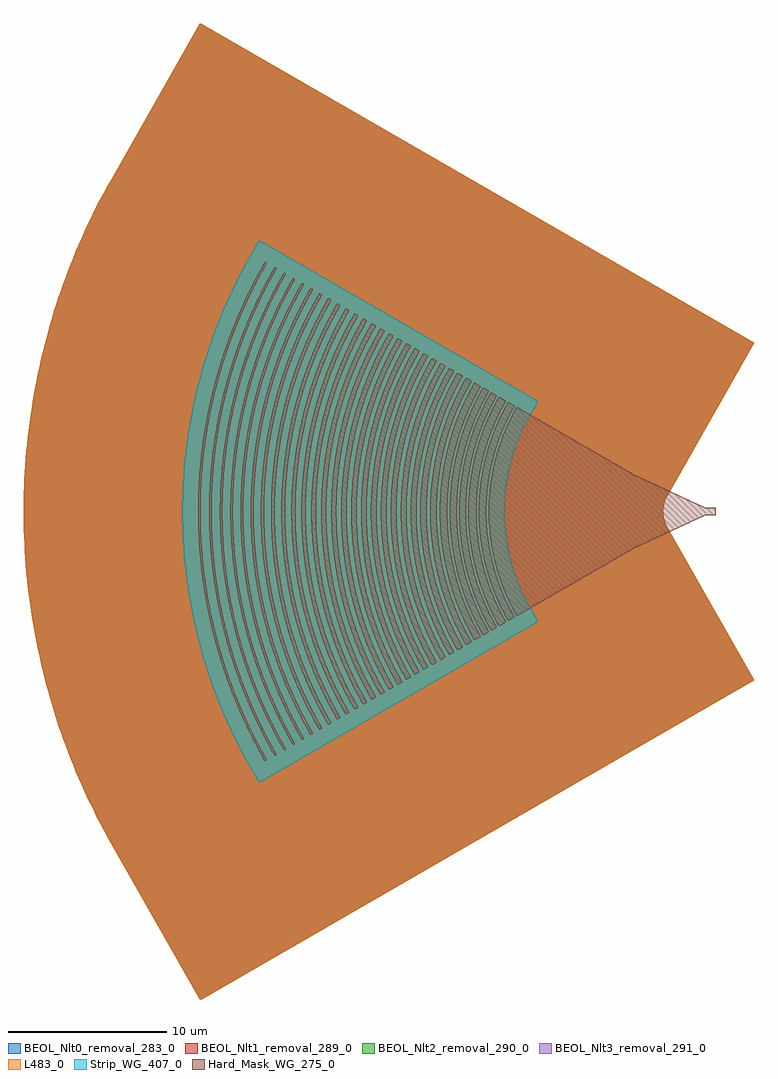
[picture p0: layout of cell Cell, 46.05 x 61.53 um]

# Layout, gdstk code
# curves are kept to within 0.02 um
import gdstk
lib = gdstk.Library(unit=1e-6, precision=1e-09)
def P(c, l, *ps):  # polygons
    for p in ps: c.add(gdstk.Polygon(p, *l))
Hard_Mask_WG_275_0 = (275, 0)
BEOL_Nlt0_removal_283_0 = (283, 0)
BEOL_Nlt1_removal_289_0 = (289, 0)
BEOL_Nlt2_removal_290_0 = (290, 0)
BEOL_Nlt3_removal_291_0 = (291, 0)
Strip_WG_407_0 = (407, 0)
L483_0 = (483, 0)

cell = lib.new_cell('Cell')
P(cell, Hard_Mask_WG_275_0, [(25.743,21.104),(25.692,21.15),(25.253,21.96),(24.678,23.19),(24.204,24.42),(23.806,25.71),(23.54,26.82),(23.325,28.05),(23.182,29.4),(23.136,30.6),(23.172,31.98),(23.267,33.03),(23.48,34.41),(23.75,35.61),(24.173,37.02),(24.615,38.19),(25.253,39.57),(25.692,40.38),(25.743,40.426),(25.995,40.29),(26.026,40.23),(25.377,39),(24.838,37.77),(24.417,36.6),(24.028,35.22),(23.795,34.11),(23.644,33.12),(23.551,32.19),(23.499,30.87),(23.522,29.79),(23.613,28.677),(23.763,27.605),(23.972,26.55),(24.332,25.2),(24.779,23.91),(25.377,22.53),(26.026,21.3),(25.995,21.24)],
  [(15.843,15.38),(15.802,15.391),(15.693,15.575),(15.019,16.831),(14.511,17.881),(14.114,18.781),(13.727,19.741),(13.336,20.82),(12.766,22.68),(12.529,23.61),(12.291,24.69),(12.109,25.68),(11.964,26.64),(11.84,27.69),(11.753,28.74),(11.686,30.63),(11.695,31.5),(11.745,32.67),(11.928,34.62),(12.079,35.67),(12.285,36.81),(12.529,37.92),(12.766,38.85),(13.336,40.71),(13.727,41.789),(14.114,42.749),(14.511,43.649),(15.019,44.699),(15.693,45.955),(15.802,46.139),(15.843,46.15),(15.913,46.109),(15.925,46.049),(15.379,45.059),(14.883,44.076),(14.433,43.1),(13.983,42.021),(13.378,40.35),(12.838,38.52),(12.603,37.56),(12.389,36.54),(12.091,34.68),(11.913,32.881),(11.853,31.688),(11.842,30.9),(11.883,29.13),(11.942,28.26),(12.061,27.09),(12.211,26.01),(12.389,24.99),(12.807,23.13),(13.079,22.14),(13.378,21.18),(13.983,19.509),(14.433,18.43),(14.883,17.454),(15.379,16.471),(15.925,15.481),(15.913,15.421)],
  [(30.543,23.879),(30.172,24.54),(29.744,25.47),(29.447,26.25),(29.178,27.12),(28.97,27.99),(28.82,28.86),(28.726,29.73),(28.689,30.6),(28.699,31.35),(28.788,32.43),(28.934,33.36),(29.122,34.2),(29.447,35.28),(29.744,36.06),(30.172,36.99),(30.543,37.651),(30.903,37.456),(30.935,37.41),(30.498,36.57),(30.175,35.85),(29.881,35.07),(29.641,34.29),(29.433,33.42),(29.311,32.73),(29.195,31.65),(29.166,30.87),(29.191,29.94),(29.252,29.25),(29.37,28.44),(29.585,27.45),(29.821,26.64),(30.114,25.83),(30.469,25.02),(30.935,24.12),(30.903,24.074)],
  [(15.213,15.029),(14.877,15.601),(14.281,16.741),(13.783,17.791),(13.393,18.691),(12.979,19.741),(12.648,20.671),(12.082,22.53),(11.838,23.49),(11.626,24.45),(11.45,25.38),(11.274,26.52),(11.152,27.54),(11.064,28.56),(11.003,29.73),(10.988,30.54),(10.995,31.53),(11.032,32.46),(11.114,33.6),(11.238,34.74),(11.385,35.76),(11.566,36.78),(11.775,37.77),(12.018,38.76),(12.286,39.72),(12.618,40.77),(12.979,41.789),(13.368,42.779),(13.783,43.739),(14.281,44.789),(14.877,45.929),(15.213,46.501),(15.303,46.462),(15.324,46.409),(14.762,45.389),(14.223,44.318),(13.739,43.259),(13.317,42.239),(12.691,40.5),(12.154,38.67),(11.729,36.81),(11.551,35.82),(11.401,34.8),(11.224,33.06),(11.163,31.98),(11.143,30.99),(11.154,29.88),(11.191,28.98),(11.253,28.11),(11.371,26.97),(11.522,25.89),(11.7,24.87),(12.123,22.98),(12.633,21.21),(13.233,19.507),(13.683,18.401),(14.19,17.281),(14.699,16.261),(15.324,15.121),(15.303,15.068)],
  [(26.283,21.422),(25.801,22.29),(25.244,23.49),(24.827,24.57),(24.434,25.83),(24.167,26.94),(23.961,28.11),(23.833,29.25),(23.772,30.63),(23.807,31.92),(23.928,33.18),(24.136,34.44),(24.378,35.49),(24.765,36.78),(25.194,37.92),(25.696,39.03),(26.283,40.108),(26.58,39.93),(25.925,38.67),(25.38,37.41),(24.961,36.21),(24.603,34.883),(24.42,33.99),(24.273,33.017),(24.183,32.103),(24.137,30.93),(24.152,29.94),(24.243,28.77),(24.364,27.87),(24.57,26.79),(24.897,25.53),(25.38,24.12),(25.925,22.86),(26.58,21.6)],
  [(19.773,17.657),(19.554,18.001),(19.023,19.006),(18.285,20.611),(17.688,22.17),(17.176,23.82),(16.762,25.56),(16.491,27.15),(16.312,28.83),(16.241,30.63),(16.279,32.19),(16.451,34.08),(16.726,35.79),(17.176,37.71),(17.688,39.36),(18.285,40.919),(19.023,42.524),(19.554,43.529),(19.773,43.873),(19.923,43.795),(19.952,43.739),(19.138,42.209),(18.387,40.53),(17.763,38.82),(17.285,37.17),(16.953,35.682),(16.711,34.2),(16.533,32.374),(16.486,30.96),(16.531,29.19),(16.653,27.801),(16.889,26.19),(17.255,24.48),(17.763,22.71),(18.387,21),(19.138,19.321),(19.952,17.791),(19.923,17.735)],
  [(21.423,18.605),(21.355,18.661),(20.787,19.711),(20.061,21.27),(19.494,22.74),(19.007,24.3),(18.651,25.77),(18.381,27.3),(18.201,28.95),(18.134,30.54),(18.168,32.07),(18.317,33.75),(18.561,35.31),(18.919,36.9),(19.432,38.61),(19.973,40.05),(20.787,41.819),(21.355,42.869),(21.423,42.925),(21.635,42.779),(20.875,41.339),(20.155,39.72),(19.62,38.25),(19.175,36.72),(18.842,35.22),(18.631,33.9),(18.483,32.43),(18.427,30.96),(18.453,29.61),(18.573,28.109),(18.782,26.64),(19.115,25.05),(19.562,23.46),(20.155,21.81),(20.875,20.191),(21.635,18.751)],
  [(21.963,18.914),(21.903,18.954),(21.363,19.949),(20.659,21.45),(20.057,23.01),(19.577,24.57),(19.217,26.1),(18.983,27.48),(18.826,28.92),(18.756,30.63),(18.797,32.19),(18.943,33.75),(19.217,35.43),(19.577,36.96),(20.057,38.52),(20.659,40.08),(21.363,41.581),(21.903,42.576),(21.963,42.616),(22.173,42.495),(22.194,42.449),(21.423,40.986),(20.756,39.48),(20.252,38.1),(19.774,36.45),(19.473,35.072),(19.26,33.72),(19.114,32.16),(19.075,30.99),(19.112,29.4),(19.204,28.29),(19.413,26.79),(19.708,25.35),(20.165,23.7),(20.732,22.11),(21.393,20.606),(22.194,19.081),(22.173,19.035)],
  [(16.413,15.719),(16.143,16.167),(15.601,17.191),(15.179,18.061),(14.715,19.111),(14.331,20.071),(13.995,21),(13.693,21.93),(13.424,22.86),(12.981,24.72),(12.795,25.71),(12.652,26.64),(12.532,27.63),(12.438,28.71),(12.369,30.6),(12.377,31.53),(12.434,32.76),(12.612,34.59),(12.915,36.48),(13.336,38.34),(13.603,39.3),(13.934,40.35),(14.297,41.369),(14.64,42.239),(15.055,43.199),(15.481,44.099),(15.993,45.089),(16.413,45.811),(16.503,45.769),(16.521,45.719),(15.96,44.699),(15.477,43.739),(15.033,42.77),(14.577,41.669),(14.007,40.08),(13.472,38.25),(13.084,36.54),(12.783,34.711),(12.603,32.971),(12.543,31.92),(12.524,30.93),(12.571,29.04),(12.634,28.17),(12.753,27.051),(13.049,25.17),(13.472,23.28),(14.007,21.45),(14.577,19.861),(14.973,18.898),(15.477,17.791),(15.96,16.831),(16.521,15.811),(16.503,15.761)],
  [(18.663,17.01),(18.573,17.103),(17.943,18.27),(17.119,20.041),(16.483,21.69),(15.915,23.52),(15.501,25.26),(15.199,27.03),(15.017,28.77),(14.947,30.54),(14.988,32.31),(15.138,34.02),(15.407,35.79),(15.827,37.68),(16.401,39.6),(17.056,41.339),(17.912,43.199),(18.557,44.399),(18.609,44.489),(18.663,44.52),(18.783,44.453),(18.8,44.399),(18.289,43.469),(17.793,42.476),(17.343,41.476),(16.926,40.44),(16.417,38.97),(15.991,37.47),(15.633,35.85),(15.361,34.11),(15.213,32.538),(15.156,30.87),(15.21,29.04),(15.361,27.42),(15.633,25.68),(15.991,24.06),(16.417,22.56),(16.926,21.09),(17.343,20.054),(17.793,19.054),(18.289,18.061),(18.8,17.131),(18.783,17.077)],
  [(19.203,17.33),(18.903,17.836),(18.409,18.781),(17.656,20.431),(17.032,22.08),(16.519,23.76),(16.129,25.41),(15.831,27.18),(15.65,28.98),(15.591,30.6),(15.644,32.46),(15.796,34.08),(16.099,35.97),(16.487,37.65),(16.971,39.27),(17.631,41.039),(18.409,42.749),(18.903,43.694),(19.203,44.2),(19.353,44.124),(19.38,44.069),(18.535,42.479),(17.76,40.74),(17.127,39),(16.649,37.35),(16.295,35.76),(16.022,34.02),(15.871,32.37),(15.825,30.84),(15.871,29.16),(16.022,27.51),(16.295,25.77),(16.649,24.18),(17.127,22.53),(17.76,20.79),(18.535,19.051),(19.38,17.461),(19.353,17.406)],
  [(24.663,20.479),(24.603,20.54),(24.173,21.33),(23.513,22.74),(23.028,24),(22.61,25.35),(22.309,26.61),(22.069,28.02),(21.948,29.16),(21.886,30.57),(21.916,31.89),(22.038,33.27),(22.244,34.59),(22.546,35.94),(22.936,37.26),(23.488,38.73),(24.112,40.08),(24.603,40.99),(24.663,41.051),(24.933,40.9),(24.947,40.859),(24.297,39.63),(23.699,38.28),(23.195,36.87),(22.803,35.456),(22.566,34.32),(22.385,33.09),(22.291,32.04),(22.253,30.87),(22.291,29.49),(22.385,28.44),(22.566,27.21),(22.773,26.202),(23.157,24.78),(23.64,23.4),(24.239,22.02),(24.947,20.671),(24.933,20.63)],
  [(29.973,23.547),(29.58,24.24),(29.176,25.11),(28.787,26.13),(28.515,27.03),(28.311,27.9),(28.158,28.8),(28.068,29.64),(28.026,30.66),(28.038,31.41),(28.127,32.49),(28.276,33.45),(28.515,34.5),(28.787,35.4),(29.176,36.42),(29.58,37.29),(29.973,37.983),(30.36,37.77),(30.395,37.71),(29.964,36.9),(29.611,36.12),(29.283,35.25),(29.043,34.47),(28.833,33.6),(28.683,32.747),(28.594,31.98),(28.543,30.81),(28.563,29.983),(28.652,29.01),(28.774,28.23),(28.979,27.3),(29.223,26.46),(29.574,25.5),(29.964,24.63),(30.395,23.82),(30.36,23.76)],
  [(24.123,20.172),(23.544,21.21),(22.934,22.53),(22.398,23.94),(22.005,25.23),(21.681,26.61),(21.473,27.84),(21.32,29.31),(21.273,30.63),(21.314,32.13),(21.437,33.42),(21.675,34.89),(21.973,36.18),(22.398,37.59),(22.884,38.88),(23.454,40.14),(23.875,40.949),(24.123,41.358),(24.363,41.232),(24.393,41.159),(23.638,39.72),(23.066,38.4),(22.588,37.05),(22.203,35.667),(21.961,34.53),(21.784,33.39),(21.663,32.133),(21.621,30.96),(21.633,29.962),(21.723,28.677),(21.903,27.33),(22.14,26.13),(22.532,24.66),(23.066,23.13),(23.638,21.81),(24.393,20.371),(24.363,20.298)],
  [(22.503,19.231),(22.442,19.291),(21.953,20.191),(21.235,21.72),(20.657,23.22),(20.236,24.57),(19.878,26.04),(19.612,27.57),(19.459,28.98),(19.391,30.54),(19.428,32.1),(19.572,33.66),(19.812,35.16),(20.147,36.63),(20.626,38.22),(21.147,39.6),(21.843,41.122),(22.374,42.119),(22.503,42.299),(22.713,42.185),(22.746,42.119),(21.926,40.56),(21.3,39.12),(20.759,37.59),(20.343,36.09),(20.072,34.8),(19.863,33.39),(19.743,31.967),(19.711,30.84),(19.742,29.58),(19.863,28.14),(20.04,26.91),(20.343,25.44),(20.759,23.94),(21.3,22.41),(21.926,20.97),(22.746,19.411),(22.713,19.345)],
  [(20.853,18.287),(20.097,19.681),(19.453,21.09),(18.889,22.56),(18.378,24.21),(17.989,25.86),(17.72,27.48),(17.571,28.92),(17.503,30.66),(17.54,32.13),(17.712,33.99),(17.989,35.67),(18.346,37.2),(18.827,38.79),(19.378,40.26),(20.097,41.849),(20.853,43.243),(21.055,43.139),(21.07,43.079),(20.274,41.579),(19.556,39.96),(19.02,38.49),(18.517,36.75),(18.18,35.19),(17.973,33.842),(17.823,32.22),(17.783,30.96),(17.823,29.31),(17.943,27.938),(18.18,26.34),(18.48,24.93),(18.933,23.31),(19.532,21.63),(20.274,19.951),(21.07,18.451),(21.055,18.391)],
  [(26.823,21.733),(26.272,22.74),(25.756,23.88),(25.341,24.99),(25.006,26.1),(24.735,27.27),(24.556,28.35),(24.437,29.52),(24.396,30.69),(24.437,32.01),(24.556,33.18),(24.735,34.26),(25.006,35.43),(25.341,36.54),(25.756,37.65),(26.272,38.79),(26.823,39.797),(27.087,39.66),(27.123,39.599),(26.552,38.52),(26.01,37.29),(25.556,36),(25.23,34.8),(25.055,33.96),(24.902,32.97),(24.812,32.07),(24.767,30.9),(24.783,29.94),(24.873,28.808),(24.993,27.93),(25.176,26.97),(25.501,25.71),(25.917,24.48),(26.466,23.19),(27.123,21.931),(27.087,21.87)],
  [(16.983,16.05),(16.615,16.681),(16.13,17.611),(15.686,18.541),(15.256,19.531),(14.902,20.431),(14.541,21.45),(14.028,23.16),(13.607,24.96),(13.311,26.7),(13.19,27.69),(13.101,28.71),(13.03,30.63),(13.068,32.28),(13.131,33.21),(13.248,34.35),(13.396,35.4),(13.548,36.27),(13.761,37.29),(13.996,38.25),(14.541,40.08),(14.902,41.099),(15.256,41.999),(15.686,42.989),(16.13,43.919),(16.615,44.849),(16.983,45.48),(17.073,45.44),(17.096,45.389),(16.533,44.363),(16.023,43.342),(15.539,42.269),(15.149,41.309),(14.607,39.78),(14.158,38.25),(13.949,37.41),(13.713,36.3),(13.44,34.62),(13.263,32.899),(13.203,31.809),(13.188,30.96),(13.232,29.1),(13.32,27.96),(13.413,27.12),(13.713,25.23),(14.103,23.492),(14.578,21.84),(15.149,20.221),(15.539,19.261),(16.023,18.188),(16.533,17.167),(17.096,16.141),(17.073,16.09)],
  [(31.083,24.191),(30.75,24.78),(30.346,25.65),(30.025,26.49),(29.776,27.3),(29.57,28.17),(29.421,29.07),(29.329,30.09),(29.314,30.69),(29.329,31.44),(29.417,32.43),(29.535,33.18),(29.72,34.02),(29.955,34.83),(30.259,35.67),(30.66,36.57),(31.083,37.339),(38.523,33.059),(42.933,31.011),(43.638,30.99),(43.638,30.54),(42.933,30.519),(38.523,28.471)],
  [(28.413,22.651),(27.89,23.61),(27.445,24.6),(27.076,25.59),(26.778,26.58),(26.535,27.63),(26.393,28.47),(26.269,29.64),(26.231,30.6),(26.263,31.8),(26.353,32.76),(26.535,33.9),(26.778,34.95),(27.076,35.94),(27.445,36.93),(27.89,37.92),(28.413,38.879),(28.773,38.686),(28.801,38.64),(28.283,37.65),(27.906,36.81),(27.544,35.85),(27.267,34.95),(27.004,33.84),(26.852,32.94),(26.733,31.77),(26.702,30.96),(26.733,29.76),(26.824,28.8),(27.004,27.69),(27.211,26.79),(27.513,25.772),(27.869,24.81),(28.283,23.88),(28.801,22.89),(28.773,22.844)],
  [(18.093,16.689),(17.761,17.251),(17.245,18.241),(16.454,19.981),(15.769,21.81),(15.288,23.4),(14.869,25.17),(14.569,26.94),(14.39,28.62),(14.311,30.57),(14.359,32.46),(14.537,34.35),(14.81,36.06),(15.224,37.89),(15.769,39.72),(16.454,41.549),(17.245,43.289),(17.761,44.279),(18.093,44.841),(18.213,44.782),(18.229,44.729),(17.703,43.772),(17.221,42.809),(16.798,41.879),(16.323,40.71),(15.839,39.33),(15.395,37.8),(15.031,36.21),(14.733,34.398),(14.553,32.552),(14.497,30.93),(14.551,29.01),(14.7,27.39),(14.973,25.62),(15.364,23.85),(15.782,22.38),(16.323,20.82),(16.798,19.651),(17.221,18.721),(17.703,17.758),(18.229,16.801),(18.213,16.748)],
  [(23.043,19.542),(22.953,19.649),(22.436,20.611),(21.795,21.99),(21.263,23.37),(20.806,24.84),(20.482,26.19),(20.239,27.57),(20.082,28.98),(20.014,30.57),(20.054,32.16),(20.179,33.51),(20.387,34.86),(20.742,36.45),(21.201,37.98),(21.707,39.33),(22.346,40.74),(22.884,41.759),(23.043,41.988),(23.283,41.853),(23.296,41.789),(22.537,40.35),(21.895,38.88),(21.393,37.467),(20.974,35.97),(20.702,34.68),(20.52,33.48),(20.403,32.254),(20.355,30.81),(20.403,29.276),(20.52,28.05),(20.702,26.85),(20.974,25.56),(21.393,24.063),(21.895,22.65),(22.537,21.18),(23.296,19.741),(23.283,19.677)],
  [(23.583,19.857),(23.009,20.88),(22.368,22.26),(21.86,23.58),(21.405,25.05),(21.079,26.43),(20.841,27.84),(20.695,29.28),(20.646,30.6),(20.683,32.07),(20.806,33.42),(21.02,34.8),(21.349,36.27),(21.798,37.77),(22.343,39.21),(23.009,40.65),(23.583,41.673),(23.823,41.543),(23.857,41.489),(23.131,40.11),(22.476,38.61),(21.96,37.14),(21.574,35.73),(21.33,34.56),(21.153,33.39),(21.033,32.087),(20.994,30.84),(21.033,29.443),(21.153,28.14),(21.33,26.97),(21.574,25.8),(21.96,24.39),(22.476,22.92),(23.131,21.42),(23.857,20.041),(23.823,19.987)],
  [(27.363,22.035),(27.305,22.08),(26.93,22.77),(26.357,24),(25.966,25.02),(25.613,26.16),(25.336,27.33),(25.159,28.38),(25.042,29.49),(24.997,30.66),(25.032,31.89),(25.151,33.09),(25.336,34.2),(25.613,35.37),(25.935,36.42),(26.357,37.53),(26.93,38.76),(27.305,39.45),(27.363,39.495),(27.652,39.33),(27.664,39.27),(27.051,38.1),(26.547,36.93),(26.161,35.82),(25.83,34.59),(25.623,33.541),(25.502,32.67),(25.412,31.53),(25.398,30.87),(25.412,30),(25.502,28.86),(25.623,27.989),(25.803,27.059),(26.133,25.802),(26.547,24.6),(27.051,23.43),(27.664,22.26),(27.652,22.2)],
  [(25.203,20.793),(24.65,21.78),(24.107,22.95),(23.6,24.27),(23.213,25.53),(22.908,26.82),(22.7,28.05),(22.574,29.22),(22.514,30.72),(22.546,31.89),(22.668,33.24),(22.878,34.56),(23.213,36),(23.6,37.26),(24.107,38.58),(24.65,39.75),(25.203,40.737),(25.469,40.59),(25.48,40.53),(24.787,39.21),(24.239,37.95),(23.792,36.69),(23.402,35.28),(23.162,34.11),(23.013,33.09),(22.922,32.13),(22.877,30.87),(22.893,29.907),(22.983,28.708),(23.162,27.42),(23.374,26.37),(23.736,25.02),(24.239,23.58),(24.787,22.32),(25.48,21),(25.469,20.94)],
  [(27.903,22.349),(27.837,22.41),(27.48,23.07),(26.961,24.18),(26.567,25.2),(26.213,26.34),(25.969,27.36),(25.787,28.41),(25.67,29.49),(25.624,30.72),(25.66,31.89),(25.755,32.88),(25.939,34.02),(26.213,35.19),(26.567,36.33),(26.961,37.35),(27.48,38.46),(27.837,39.12),(27.903,39.181),(28.178,39.03),(28.222,38.97),(27.6,37.77),(27.115,36.63),(26.727,35.49),(26.429,34.35),(26.254,33.45),(26.134,32.58),(26.07,31.86),(26.035,30.87),(26.044,30.15),(26.134,28.95),(26.254,28.08),(26.429,27.18),(26.727,26.04),(27.115,24.9),(27.6,23.76),(28.222,22.56),(28.178,22.5)],
  [(17.553,16.373),(17.503,16.411),(17.399,16.591),(16.773,17.762),(16.31,18.721),(15.927,19.591),(15.26,21.33),(14.685,23.19),(14.238,25.08),(13.943,26.82),(13.758,28.53),(13.695,29.58),(13.672,30.57),(13.723,32.49),(13.903,34.41),(14.179,36.15),(14.597,38.01),(15.168,39.93),(15.827,41.699),(16.255,42.689),(16.698,43.619),(17.313,44.785),(17.503,45.119),(17.553,45.157),(17.643,45.111),(17.664,45.059),(17.133,44.093),(16.653,43.137),(16.233,42.219),(15.807,41.189),(15.239,39.6),(14.758,37.95),(14.343,36.096),(14.071,34.38),(13.893,32.476),(13.844,30.87),(13.892,29.07),(14.071,27.15),(14.343,25.434),(14.758,23.58),(15.239,21.93),(15.807,20.341),(16.233,19.311),(16.653,18.393),(17.133,17.437),(17.664,16.471),(17.643,16.419)],
  [(20.313,17.973),(19.619,19.231),(18.884,20.82),(18.317,22.29),(17.776,24.03),(17.39,25.65),(17.122,27.21),(16.936,28.98),(16.874,30.66),(16.936,32.55),(17.082,34.02),(17.325,35.55),(17.688,37.17),(18.164,38.79),(18.772,40.44),(19.529,42.119),(19.98,42.989),(20.313,43.557),(20.493,43.466),(20.51,43.409),(19.713,41.909),(18.989,40.29),(18.386,38.64),(17.908,36.99),(17.553,35.37),(17.341,34.02),(17.194,32.55),(17.131,30.9),(17.163,29.49),(17.311,27.75),(17.553,26.16),(17.848,24.78),(18.299,23.16),(18.929,21.39),(19.593,19.869),(20.51,18.121),(20.493,18.064)],
  [(29.493,23.263),(29.429,23.31),(29.151,23.82),(28.642,24.9),(28.284,25.83),(27.978,26.82),(27.768,27.69),(27.592,28.71),(27.497,29.58),(27.453,30.72),(27.47,31.53),(27.58,32.73),(27.768,33.84),(27.978,34.71),(28.284,35.7),(28.642,36.63),(29.151,37.71),(29.429,38.22),(29.493,38.267),(29.793,38.097),(29.819,38.04),(29.402,37.26),(28.98,36.33),(28.654,35.46),(28.38,34.56),(28.174,33.69),(28.023,32.82),(27.907,31.68),(27.879,30.81),(27.903,29.906),(27.991,28.95),(28.144,27.99),(28.348,27.09),(28.623,26.162),(28.98,25.2),(29.402,24.27),(29.819,23.49),(29.793,23.433)],
  [(28.953,22.964),(28.469,23.85),(28.035,24.81),(27.676,25.77),(27.41,26.64),(27.167,27.66),(26.992,28.71),(26.896,29.64),(26.857,30.72),(26.894,31.86),(26.984,32.76),(27.167,33.87),(27.41,34.89),(27.676,35.76),(28.035,36.72),(28.469,37.68),(28.953,38.566),(29.269,38.4),(29.324,38.34),(28.822,37.38),(28.434,36.51),(28.109,35.64),(27.81,34.65),(27.601,33.75),(27.424,32.67),(27.333,31.701),(27.304,30.84),(27.333,29.829),(27.424,28.86),(27.601,27.78),(27.81,26.88),(28.109,25.89),(28.434,25.02),(28.822,24.15),(29.324,23.19),(29.269,23.13)])
P(cell, BEOL_Nlt0_removal_283_0, [(11.181,0),(11.1,0.022),(5.03,10.709),(4.215,12.31),(3.652,13.529),(3.142,14.729),(2.635,16.031),(2.045,17.739),(1.533,19.449),(1.104,21.142),(0.722,22.957),(0.368,25.174),(0.171,26.946),(0.05,28.696),(0,30.506),(0.028,32.346),(0.132,34.124),(0.307,35.87),(0.568,37.697),(0.891,39.427),(1.292,41.166),(1.782,42.946),(2.465,45.028),(2.957,46.343),(3.652,48.001),(4.215,49.22),(5.03,50.821),(11.1,61.508),(11.181,61.53),(46.053,41.398),(40.576,31.78),(40.404,31.348),(40.324,30.816),(40.375,30.298),(40.571,29.759),(46.053,20.132)])
P(cell, BEOL_Nlt1_removal_289_0, [(11.181,0),(11.1,0.022),(5.03,10.709),(4.215,12.31),(3.652,13.529),(3.142,14.729),(2.635,16.031),(2.045,17.739),(1.533,19.449),(1.104,21.142),(0.722,22.957),(0.368,25.174),(0.171,26.946),(0.05,28.696),(0,30.506),(0.028,32.346),(0.132,34.124),(0.307,35.87),(0.568,37.697),(0.891,39.427),(1.292,41.166),(1.782,42.946),(2.465,45.028),(2.957,46.343),(3.652,48.001),(4.215,49.22),(5.03,50.821),(11.1,61.508),(11.181,61.53),(46.053,41.398),(40.576,31.78),(40.404,31.348),(40.324,30.816),(40.375,30.298),(40.571,29.759),(46.053,20.132)])
P(cell, BEOL_Nlt2_removal_290_0, [(11.181,0),(11.1,0.022),(5.03,10.709),(4.215,12.31),(3.652,13.529),(3.142,14.729),(2.635,16.031),(2.045,17.739),(1.533,19.449),(1.104,21.142),(0.722,22.957),(0.368,25.174),(0.171,26.946),(0.05,28.696),(0,30.506),(0.028,32.346),(0.132,34.124),(0.307,35.87),(0.568,37.697),(0.891,39.427),(1.292,41.166),(1.782,42.946),(2.465,45.028),(2.957,46.343),(3.652,48.001),(4.215,49.22),(5.03,50.821),(11.1,61.508),(11.181,61.53),(46.053,41.398),(40.576,31.78),(40.404,31.348),(40.324,30.816),(40.375,30.298),(40.571,29.759),(46.053,20.132)])
P(cell, BEOL_Nlt3_removal_291_0, [(11.181,0),(11.1,0.022),(5.03,10.709),(4.215,12.31),(3.652,13.529),(3.142,14.729),(2.635,16.031),(2.045,17.739),(1.533,19.449),(1.104,21.142),(0.722,22.957),(0.368,25.174),(0.171,26.946),(0.05,28.696),(0,30.506),(0.028,32.346),(0.132,34.124),(0.307,35.87),(0.568,37.697),(0.891,39.427),(1.292,41.166),(1.782,42.946),(2.465,45.028),(2.957,46.343),(3.652,48.001),(4.215,49.22),(5.03,50.821),(11.1,61.508),(11.181,61.53),(46.053,41.398),(40.576,31.78),(40.404,31.348),(40.324,30.816),(40.375,30.298),(40.571,29.759),(46.053,20.132)])
P(cell, Strip_WG_407_0, [(14.842,13.66),(13.686,15.733),(12.791,17.589),(12.015,19.498),(11.566,20.796),(11.266,21.782),(10.759,23.779),(10.553,24.789),(10.329,26.144),(10.101,28.192),(10.021,29.563),(10,30.593),(10.054,32.653),(10.13,33.681),(10.282,35.046),(10.618,37.079),(10.914,38.42),(11.172,39.417),(11.566,40.734),(11.898,41.709),(12.653,43.626),(13.528,45.491),(14.842,47.87),(32.444,37.708),(31.823,36.616),(31.474,35.928),(31.169,35.22),(30.871,34.372),(30.636,33.504),(30.466,32.621),(30.362,31.728),(30.324,30.829),(30.344,30.059),(30.447,29.036),(30.636,28.026),(30.871,27.158),(31.169,26.31),(31.474,25.602),(31.823,24.914),(32.444,23.822)])
P(cell, L483_0, [(11.181,0),(11.1,0.022),(5.03,10.709),(4.215,12.31),(3.652,13.529),(3.142,14.729),(2.635,16.031),(2.045,17.739),(1.533,19.449),(1.104,21.142),(0.722,22.957),(0.368,25.174),(0.171,26.946),(0.05,28.696),(0,30.506),(0.028,32.346),(0.132,34.124),(0.307,35.87),(0.568,37.697),(0.891,39.427),(1.292,41.166),(1.782,42.946),(2.465,45.028),(2.957,46.343),(3.652,48.001),(4.215,49.22),(5.03,50.821),(11.1,61.508),(11.181,61.53),(46.053,41.398),(40.576,31.78),(40.404,31.348),(40.324,30.816),(40.375,30.298),(40.571,29.759),(46.053,20.132)])

lib.write_gds('Cell.gds')
